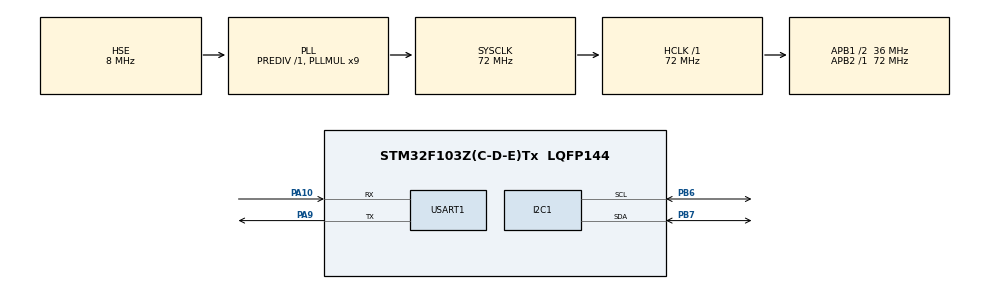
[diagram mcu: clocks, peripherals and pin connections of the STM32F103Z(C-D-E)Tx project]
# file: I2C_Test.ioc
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Mcu.Family=STM32F1
Mcu.Name=STM32F103Z(C-D-E)Tx
Mcu.Package=LQFP144
NVIC.PriorityGroup=NVIC_PRIORITYGROUP_4
OSC_IN.Mode=HSE-External-Oscillator
OSC_IN.Signal=RCC_OSC_IN
OSC_OUT.Mode=HSE-External-Oscillator
OSC_OUT.Signal=RCC_OSC_OUT
PA10.Mode=Asynchronous
PA10.Signal=USART1_RX
PA13.Mode=Serial_Wire
PA13.Signal=SYS_JTMS-SWDIO
PA14.Mode=Serial_Wire
PA14.Signal=SYS_JTCK-SWCLK
PA9.Mode=Asynchronous
PA9.Signal=USART1_TX
PB6.Mode=I2C
PB6.Signal=I2C1_SCL
PB7.Mode=I2C
PB7.Signal=I2C1_SDA
ProjectManager.HeapSize=0x200
ProjectManager.StackSize=0x400
ProjectManager.TargetToolchain=MDK-ARM V5.32
RCC.AHBFreq_Value=72000000
RCC.APB1CLKDivider=RCC_HCLK_DIV2
RCC.APB1Freq_Value=36000000
RCC.APB1TimFreq_Value=72000000
RCC.APB2Freq_Value=72000000
RCC.APB2TimFreq_Value=72000000
RCC.HCLKFreq_Value=72000000
RCC.PLLMUL=RCC_PLL_MUL9
RCC.PLLSourceVirtual=RCC_PLLSOURCE_HSE
RCC.SYSCLKFreq_VALUE=72000000
RCC.SYSCLKSource=RCC_SYSCLKSOURCE_PLLCLK
RCC.USBFreq_Value=72000000
USART1.VirtualMode=VM_ASYNC
board=custom

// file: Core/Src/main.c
/* USER CODE BEGIN Header */
/**
  ******************************************************************************
  * @file           : main.c
  * @brief          : Main program body
  ******************************************************************************
  * @attention
  *
  * Copyright (c) 2023 STMicroelectronics.
  * All rights reserved.
  *
  * This software is licensed under terms that can be found in the LICENSE file
  * in the root directory of this software component.
  * If no LICENSE file comes with this software, it is provided AS-IS.
  *
  ******************************************************************************
  */
/* USER CODE END Header */
#include "main.h"
#include "i2c.h"
#include "usart.h"
#include "gpio.h"

/* USER CODE BEGIN Includes */
#include <stdio.h>
#include <string.h>

/* USER CODE END Includes */

/* USER CODE BEGIN PTD */
#define ADDR_24LCxx_Write 0xA0
#define ADDR_24LCxx_Read 0xA1
#define BufferSize 256

uint8_t WriteBuffer[BufferSize] = {0};
uint8_t ReadBuffer[BufferSize] = {0};
/* USER CODE END PTD */

void SystemClock_Config(void);

int main(void)
{

  /* MCU Configuration--------------------------------------------------------*/

  /* Reset of all peripherals, Initializes the Flash interface and the Systick. */
  HAL_Init();

  /* Configure the system clock */
  SystemClock_Config();

  /* Initialize all configured peripherals */
  MX_GPIO_Init();
  MX_I2C1_Init();
  MX_USART1_UART_Init();
  /* USER CODE BEGIN 2 */
	printf("\r\n************************I2C Example**********************************\r\n");
	uint16_t write_count = 0;
	uint16_t read_count = 0;

	for(write_count = 0; write_count < 256; write_count++)
	{
		WriteBuffer[write_count] = write_count;
		printf("%d",WriteBuffer[write_count]);
		if(write_count%16 == 15)
		{
			printf("\n\r");
		}
	}

	for(write_count= 0; write_count < 32; write_count++)
	{
		if(HAL_I2C_Mem_Write(&hi2c1, ADDR_24LCxx_Write, 8*write_count, I2C_MEMADD_SIZE_8BIT,WriteBuffer+8*write_count,8,1000) == HAL_OK)
		{
			printf(" EEPROM Write OK \n");
		}
		else
		{
			printf(" EEPROM Write False\n");
		}
	}

	HAL_I2C_Mem_Read(&hi2c1, ADDR_24LCxx_Read, 0, I2C_MEMADD_SIZE_8BIT, ReadBuffer, BufferSize, 1000);
	for(read_count = 0; read_count < 256; read_count++)
	{
		printf("%d", ReadBuffer[read_count]);
		if(read_count%16 == 15)
		{
			printf("\n\r");
		}
	}

	if(memcmp(WriteBuffer,ReadBuffer, BufferSize) == 0)
	{
		printf("\r\n EEPROM Read OK\r\n");
	}
	else
	{
		printf("\r\n EEPROM Read FALSE\r\n");
	}
// printf("\r\n***************I2C Example*******************************\r\n");
//  uint32_t i;
//  uint8_t j;
//  for(i = 0; i < 256; i++)
//  {
//    WriteBuffer[i] = i;    /* WriteBuffer init */
//    printf("0x%02X ", WriteBuffer[i]);
//    if(i % 16 == 15)
//    {
//      printf("\n\r");
//    }
//  }
//  /* wrinte date to EEPROM */
//  for (j = 0; j < 32; j++)
//  {
//    if(HAL_I2C_Mem_Write(&hi2c1, ADDR_24LCxx_Write, 8*j, I2C_MEMADD_SIZE_8BIT, WriteBuffer+8*j, 8, 100) == HAL_OK)
//    {
//      printf("\r\n EEPROM 24C02 Write Test OK \r\n");
//    }
//    else
//    {
//      printf("\r\n EEPROM 24C02 Write Test False \r\n");
//    }
//  }
//  /* read date from EEPROM */
//  HAL_I2C_Mem_Read(&hi2c1, ADDR_24LCxx_Read, 0, I2C_MEMADD_SIZE_8BIT, ReadBuffer, BufferSize, 1000);
//  for(i = 0; i < 256; i++)
//  {
//    printf("0x%02X  ",ReadBuffer[i]);
//    if(i%16 == 15)
//    {
//      printf("\n\r");
//    }
//  }
//
//  if(memcmp(WriteBuffer,ReadBuffer,BufferSize) == 0 ) /* check date */
//  {
//    printf("\r\n EEPROM 24C02 Read Test OK\r\n");
//  }
//  else
//  {
//    printf("\r\n EEPROM 24C02 Read Test False\r\n");
//  }
  /* USER CODE END 2 */

  /* Infinite loop */
  while (1)
  {
		//printf("1");
  }
}

void SystemClock_Config(void)
{
  RCC_OscInitTypeDef RCC_OscInitStruct = {0};
  RCC_ClkInitTypeDef RCC_ClkInitStruct = {0};

  /** Initializes the RCC Oscillators according to the specified parameters
  * in the RCC_OscInitTypeDef structure.
  */
  RCC_OscInitStruct.OscillatorType = RCC_OSCILLATORTYPE_HSE;
  RCC_OscInitStruct.HSEState = RCC_HSE_ON;
  RCC_OscInitStruct.HSEPredivValue = RCC_HSE_PREDIV_DIV1;
  RCC_OscInitStruct.HSIState = RCC_HSI_ON;
  RCC_OscInitStruct.PLL.PLLState = RCC_PLL_ON;
  RCC_OscInitStruct.PLL.PLLSource = RCC_PLLSOURCE_HSE;
  RCC_OscInitStruct.PLL.PLLMUL = RCC_PLL_MUL9;
  if (HAL_RCC_OscConfig(&RCC_OscInitStruct) != HAL_OK)
  {
    Error_Handler();
  }

  /** Initializes the CPU, AHB and APB buses clocks
  */
  RCC_ClkInitStruct.ClockType = RCC_CLOCKTYPE_HCLK|RCC_CLOCKTYPE_SYSCLK
                              |RCC_CLOCKTYPE_PCLK1|RCC_CLOCKTYPE_PCLK2;
  RCC_ClkInitStruct.SYSCLKSource = RCC_SYSCLKSOURCE_PLLCLK;
  RCC_ClkInitStruct.AHBCLKDivider = RCC_SYSCLK_DIV1;
  RCC_ClkInitStruct.APB1CLKDivider = RCC_HCLK_DIV2;
  RCC_ClkInitStruct.APB2CLKDivider = RCC_HCLK_DIV1;

  if (HAL_RCC_ClockConfig(&RCC_ClkInitStruct, FLASH_LATENCY_2) != HAL_OK)
  {
    Error_Handler();
  }
}

/* USER CODE BEGIN 4 */
int fputc(int ch, FILE *f)
{
  HAL_UART_Transmit(&huart1, (uint8_t *)&ch, 1, 1000);
  return ch;
}

int fgetc(FILE *f)
{
  uint8_t ch = 0;
  HAL_UART_Receive(&huart1, &ch, 1, 1000);
  return ch;
}
/* USER CODE END 4 */

void Error_Handler(void)
{
  __disable_irq();
  while (1)
  {
  }
}
